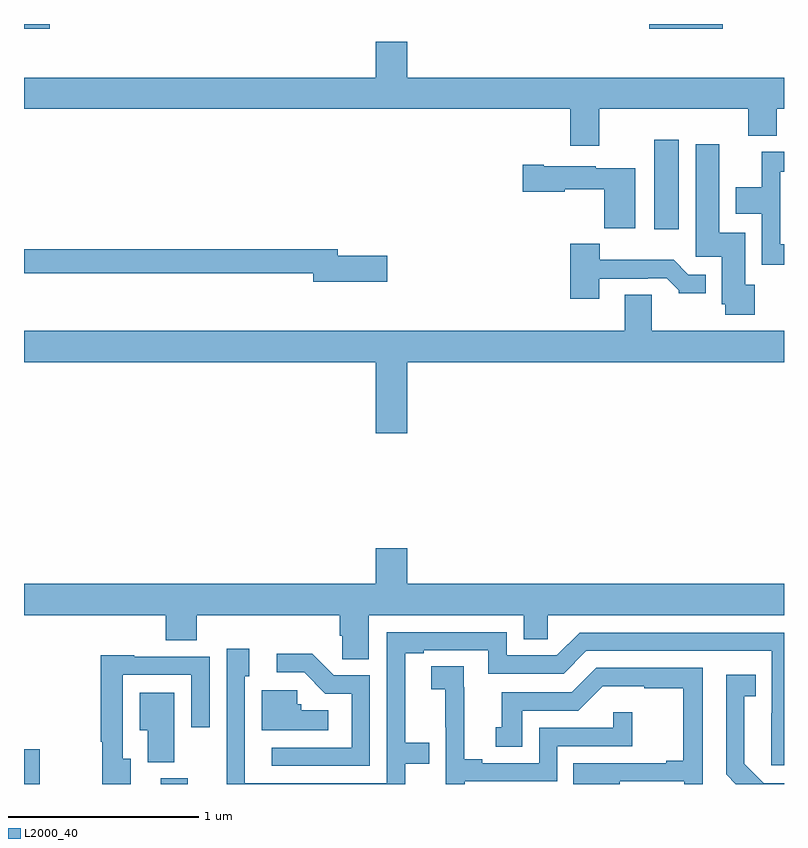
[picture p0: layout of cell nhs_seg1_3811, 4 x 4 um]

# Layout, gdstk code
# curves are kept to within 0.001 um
import gdstk
lib = gdstk.Library(unit=1e-6, precision=1e-09)
def R(c, l, rs):  # rectangles x0, y0, x1, y1
    for r in rs: c.add(gdstk.rectangle(r[:2], r[2:], *l))
def P(c, l, *ps):  # polygons
    for p in ps: c.add(gdstk.Polygon(p, *l))
L2000_40 = (2000, 40)

nhs_seg1_3811 = lib.new_cell('nhs_seg1_3811')
R(nhs_seg1_3811, L2000_40, [(319,528.199,319.083,528.382), (319.721,528.199,319.861,528.228), (322.316,531.12,322.447,531.589), (319,532.175,319.135,532.199), (322.29,532.175,322.678,532.199)])
P(nhs_seg1_3811, L2000_40, [(322.027,531.752),(322.811,531.752),(322.811,531.611),(322.963,531.611),(322.963,531.752),(323,531.752),(323,531.916),(321.016,531.916),(321.016,532.105),(320.852,532.105),(320.852,531.916),(319,531.916),(319,531.752),(321.875,531.752),(321.875,531.558),(322.027,531.558)],
  [(322.847,530.826),(322.795,530.826),(322.795,531.1),(322.66,531.1),(322.66,531.565),(322.535,531.565),(322.535,530.973),(322.673,530.973),(322.673,530.724),(322.69,530.724),(322.69,530.67),(322.847,530.67)],
  [(323,531.039),(322.98,531.039),(322.98,531.422),(323,531.422),(323,531.526),(322.882,531.526),(322.882,531.34),(322.745,531.34),(322.745,531.2),(322.884,531.2),(322.884,530.931),(323,530.931)],
  [(322.216,531.439),(322.008,531.439),(322.008,531.451),(321.736,531.451),(321.736,531.459),(321.624,531.459),(321.624,531.317),(321.846,531.317),(321.846,531.329),(322.054,531.329),(322.054,531.125),(322.216,531.125)],
  [(322.027,530.859),(322.283,530.859),(322.283,530.862),(322.382,530.862),(322.446,530.798),(322.446,530.783),(322.588,530.783),(322.588,530.88),(322.497,530.88),(322.419,530.959),(322.03,530.959),(322.03,531.043),(321.875,531.043),(321.875,530.754),(322.027,530.754)],
  [(320.911,530.978),(320.65,530.978),(320.65,531.014),(319,531.014),(319,530.886),(320.522,530.886),(320.522,530.843),(320.911,530.843)],
  [(321.016,530.42),(323,530.42),(323,530.584),(322.303,530.584),(322.303,530.774),(322.163,530.774),(322.163,530.584),(319,530.584),(319,530.42),(320.852,530.42),(320.852,530.046),(321.016,530.046)],
  [(320.815,529.088),(321.629,529.088),(321.629,528.961),(321.756,528.961),(321.756,529.088),(323,529.088),(323,529.252),(321.016,529.252),(321.016,529.441),(320.852,529.441),(320.852,529.252),(319,529.252),(319,529.088),(319.745,529.088),(319.745,528.955),(319.91,528.955),(319.91,529.088),(320.663,529.088),(320.663,528.979),(320.676,528.979),(320.676,528.856),(320.815,528.856)],
  [(321.006,528.306),(321.134,528.306),(321.134,528.415),(321.007,528.415),(321.007,528.888),(321.103,528.888),(321.103,528.903),(321.444,528.903),(321.444,528.78),(321.84,528.78),(321.96,528.9),(322.935,528.9),(322.934,528.297),(323,528.297),(323,528.996),(321.924,528.996),(321.804,528.876),(321.54,528.876),(321.54,528.999),(320.91,528.999),(320.91,528.204),(320.163,528.204),(320.163,528.765),(320.185,528.765),(320.185,528.91),(320.067,528.91),(320.066,528.199),(321.006,528.199)],
  [(320.82,528.771),(320.631,528.771),(320.518,528.884),(320.331,528.884),(320.331,528.786),(320.475,528.786),(320.586,528.675),(320.724,528.675),(320.724,528.39),(320.304,528.39),(320.304,528.294),(320.82,528.294)],
  [(319.561,528.333),(319.521,528.333),(319.521,528.774),(319.881,528.774),(319.881,528.498),(319.977,528.498),(319.977,528.87),(319.581,528.87),(319.581,528.877),(319.405,528.877),(319.405,528.421),(319.413,528.421),(319.413,528.199),(319.561,528.199)],
  [(321.32,528.213),(321.807,528.213),(321.807,528.399),(322.202,528.399),(322.202,528.577),(322.101,528.577),(322.101,528.495),(321.711,528.495),(321.711,528.309),(321.412,528.309),(321.412,528.329),(321.316,528.329),(321.316,528.707),(321.314,528.707),(321.314,528.818),(321.144,528.818),(321.144,528.697),(321.218,528.697),(321.218,528.499),(321.219,528.499),(321.219,528.199),(321.32,528.199)],
  [(322.135,528.213),(322.476,528.213),(322.476,528.199),(322.572,528.199),(322.572,528.81),(322.011,528.81),(321.882,528.681),(321.515,528.681),(321.515,528.498),(321.482,528.498),(321.482,528.394),(321.622,528.394),(321.622,528.585),(321.918,528.585),(322.046,528.713),(322.265,528.713),(322.265,528.702),(322.471,528.702),(322.471,528.322),(322.379,528.322),(322.379,528.309),(321.892,528.309),(321.892,528.199),(322.135,528.199)],
  [(323,528.204),(322.893,528.204),(322.792,528.305),(322.792,528.662),(322.85,528.662),(322.85,528.775),(322.695,528.775),(322.695,528.25),(322.746,528.199),(323,528.199)],
  [(320.602,528.586),(320.458,528.586),(320.458,528.618),(320.439,528.618),(320.439,528.693),(320.252,528.693),(320.252,528.482),(320.602,528.482)],
  [(319.792,528.679),(319.61,528.679),(319.61,528.482),(319.652,528.482),(319.652,528.313),(319.792,528.313)])

lib.write_gds('nhs_seg1_3811.gds')
